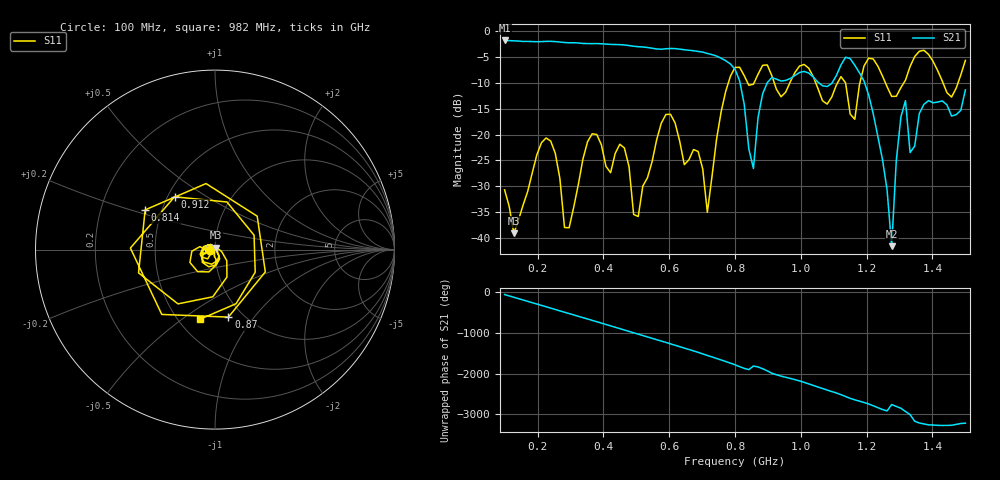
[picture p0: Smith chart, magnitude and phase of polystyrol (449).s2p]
! NanoVNA-App
! Date: 2025-09-25 15:33:23
! Start: 100MHz Stop: 1,5GHz Points: 101
! S-Parameter data: F S11 S21 S12 S22
# Hz S RI R 50
!  Frequency  S11_Real  S11_Imag  S21_Real  S21_Imag  S12_Real  S12_Imag  S22_Real  S22_Imag
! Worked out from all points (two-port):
!   101 points, 100 MHz to 1.5 GHz, reference 50 ohm
!   highest |S21| = -1.80 dB at 100 MHz (marker M1); lowest = -41.6 dB at 1.276 GHz (marker M2)
!   |S21| within 3 dB of the highest: start of sweep to 743.2 MHz
!   lowest |S11| = -39.1 dB at 128 MHz (marker M3), VSWR 1.02, Z = 50.3 + j1.06 ohm
!   |S11| at or under -10 dB: start of sweep to 779.8 MHz; 1.045 GHz to 1.112 GHz (66.29 MHz wide, 6.15 % of centre); 1.136 GHz to 1.179 GHz (43.59 MHz wide, 3.76 % of centre) (the widest 3 of 7)
!   S12 and S22 are empty: the file has one direction only
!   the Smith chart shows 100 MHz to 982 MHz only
!   S11 on the Smith chart (normalised r, x): 100 MHz: 0.94, -0.01; 814 MHz: 0.40, +0.22; 870 MHz: 0.85, -0.75; 912 MHz: 0.54, +0.37; 982 MHz: 0.63, -0.59
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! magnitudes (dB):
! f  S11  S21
! 100 MHz  -30.7  -1.8
! 128 MHz  -39.1  -1.9
! 212 MHz  -21.6  -2.0
! 282 MHz  -38.0  -2.2
! 338 MHz  -24.7  -2.4
! 464 MHz  -22.6  -2.7
! 506 MHz  -35.9  -3.0
! 576 MHz  -17.8  -3.5
! 716 MHz  -35.0  -4.3
! 800 MHz  -7.0  -7.4
! 814 MHz  -7.0  -9.6
! 856 MHz  -10.3  -26.6
! 870 MHz  -8.3  -16.7
! 912 MHz  -8.6  -9.0
! 982 MHz  -8.0  -8.6
! 1.038 GHz  -8.8  -8.9
! 1.164 GHz  -17.0  -6.6
! 1.192 GHz  -6.7  -9.6
! 1.276 GHz  -12.6  -41.6
! 1.318 GHz  -9.5  -13.4
! 1.332 GHz  -6.8  -23.5
! 1.5 GHz  -5.7  -11.4
